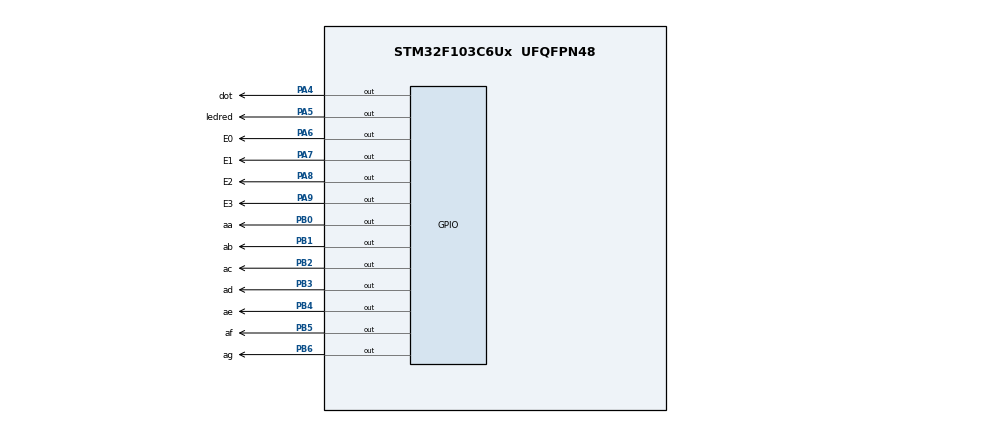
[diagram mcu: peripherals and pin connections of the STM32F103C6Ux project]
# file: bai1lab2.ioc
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Mcu.Family=STM32F1
Mcu.Name=STM32F103C6Ux
Mcu.Package=UFQFPN48
NVIC.PriorityGroup=NVIC_PRIORITYGROUP_4
NVIC.TIM2_IRQn=true\:0\:0\:false\:false\:true\:true\:true
PA4.GPIO_Label=dot
PA4.Signal=GPIO_Output
PA5.GPIO_Label=ledred
PA5.Signal=GPIO_Output
PA6.GPIO_Label=E0
PA6.Signal=GPIO_Output
PA7.GPIO_Label=E1
PA7.Signal=GPIO_Output
PA8.GPIO_Label=E2
PA8.Signal=GPIO_Output
PA9.GPIO_Label=E3
PA9.Signal=GPIO_Output
PB0.GPIO_Label=aa
PB0.Signal=GPIO_Output
PB1.GPIO_Label=ab
PB1.Signal=GPIO_Output
PB2.GPIO_Label=ac
PB2.Signal=GPIO_Output
PB3.GPIO_Label=ad
PB3.Signal=GPIO_Output
PB4.GPIO_Label=ae
PB4.Signal=GPIO_Output
PB5.GPIO_Label=af
PB5.Signal=GPIO_Output
PB6.GPIO_Label=ag
PB6.Signal=GPIO_Output
ProjectManager.HeapSize=0x200
ProjectManager.StackSize=0x400
ProjectManager.TargetToolchain=STM32CubeIDE
RCC.AHBFreq_Value=8000000
RCC.APB1Freq_Value=8000000
RCC.APB1TimFreq_Value=8000000
RCC.APB2Freq_Value=8000000
RCC.APB2TimFreq_Value=8000000
RCC.HCLKFreq_Value=8000000
TIM2.Period=9 
TIM2.Prescaler=7999
VP_SYS_VS_ND.Mode=No_Debug
VP_TIM2_VS_ClockSourceINT.Mode=Internal
board=custom

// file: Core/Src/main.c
/* USER CODE BEGIN Header */
/**
  ******************************************************************************
  * @file           : main.c
  * @brief          : Main program body
  ******************************************************************************
  * @attention
  *
  * <h2><center>&copy; Copyright (c) 2022 STMicroelectronics.
  * All rights reserved.</center></h2>
  *
  * This software component is licensed by ST under BSD 3-Clause license,
  * the "License"; You may not use this file except in compliance with the
  * License. You may obtain a copy of the License at:
  *                        opensource.org/licenses/BSD-3-Clause
  *
  ******************************************************************************
  */
/* USER CODE END Header */
#include "main.h"
#include "software_timer.h"

TIM_HandleTypeDef htim2;

void SystemClock_Config(void);
static void MX_TIM2_Init(void);
static void MX_GPIO_Init(void);

/* USER CODE BEGIN 0 */
void display7SEG(int num) {
	if (num ==0) {
		HAL_GPIO_WritePin ( aa_GPIO_Port , aa_Pin ,	  GPIO_PIN_RESET );
		HAL_GPIO_WritePin ( ab_GPIO_Port , ab_Pin ,	  GPIO_PIN_RESET );
		HAL_GPIO_WritePin ( ac_GPIO_Port , ac_Pin ,	  GPIO_PIN_RESET );
		HAL_GPIO_WritePin ( ad_GPIO_Port , ad_Pin ,	  GPIO_PIN_RESET );
		HAL_GPIO_WritePin ( ae_GPIO_Port , ae_Pin ,	  GPIO_PIN_RESET );
		HAL_GPIO_WritePin ( af_GPIO_Port , af_Pin ,	  GPIO_PIN_RESET );
		HAL_GPIO_WritePin ( ag_GPIO_Port , ag_Pin ,	  GPIO_PIN_SET );
	}
	if (num ==1) {
		HAL_GPIO_WritePin ( aa_GPIO_Port , aa_Pin ,	  GPIO_PIN_SET );
		HAL_GPIO_WritePin ( ab_GPIO_Port , ab_Pin ,	  GPIO_PIN_RESET );
		HAL_GPIO_WritePin ( ac_GPIO_Port , ac_Pin ,	  GPIO_PIN_RESET );
		HAL_GPIO_WritePin ( ad_GPIO_Port , ad_Pin ,	  GPIO_PIN_SET );
		HAL_GPIO_WritePin ( ae_GPIO_Port , ae_Pin ,	  GPIO_PIN_SET );
		HAL_GPIO_WritePin ( af_GPIO_Port , af_Pin ,	  GPIO_PIN_SET );
		HAL_GPIO_WritePin ( ag_GPIO_Port , ag_Pin ,	  GPIO_PIN_SET );
	}
	if (num ==2) {
		HAL_GPIO_WritePin ( aa_GPIO_Port , aa_Pin ,	  GPIO_PIN_RESET );
		HAL_GPIO_WritePin ( ab_GPIO_Port , ab_Pin ,	  GPIO_PIN_RESET );
		HAL_GPIO_WritePin ( ac_GPIO_Port , ac_Pin ,	  GPIO_PIN_SET );
		HAL_GPIO_WritePin ( ad_GPIO_Port , ad_Pin ,	  GPIO_PIN_RESET );
		HAL_GPIO_WritePin ( ae_GPIO_Port , ae_Pin ,	  GPIO_PIN_RESET );
		HAL_GPIO_WritePin ( af_GPIO_Port , af_Pin ,	  GPIO_PIN_SET );
		HAL_GPIO_WritePin ( ag_GPIO_Port , ag_Pin ,	  GPIO_PIN_RESET );
	}
	if (num ==3) {
		HAL_GPIO_WritePin ( aa_GPIO_Port , aa_Pin ,	  GPIO_PIN_RESET );
		HAL_GPIO_WritePin ( ab_GPIO_Port , ab_Pin ,	  GPIO_PIN_RESET );
		HAL_GPIO_WritePin ( ac_GPIO_Port , ac_Pin ,	  GPIO_PIN_RESET );
		HAL_GPIO_WritePin ( ad_GPIO_Port , ad_Pin ,	  GPIO_PIN_RESET );
		HAL_GPIO_WritePin ( ae_GPIO_Port , ae_Pin ,	  GPIO_PIN_SET );
		HAL_GPIO_WritePin ( af_GPIO_Port , af_Pin ,	  GPIO_PIN_SET );
		HAL_GPIO_WritePin ( ag_GPIO_Port , ag_Pin ,	  GPIO_PIN_RESET );
	}
	if (num ==4) {
		HAL_GPIO_WritePin ( aa_GPIO_Port , aa_Pin ,	  GPIO_PIN_SET );
		HAL_GPIO_WritePin ( ab_GPIO_Port , ab_Pin ,	  GPIO_PIN_RESET );
		HAL_GPIO_WritePin ( ac_GPIO_Port , ac_Pin ,	  GPIO_PIN_RESET );
		HAL_GPIO_WritePin ( ad_GPIO_Port , ad_Pin ,	  GPIO_PIN_SET );
		HAL_GPIO_WritePin ( ae_GPIO_Port , ae_Pin ,	  GPIO_PIN_SET );
		HAL_GPIO_WritePin ( af_GPIO_Port , af_Pin ,	  GPIO_PIN_RESET );
		HAL_GPIO_WritePin ( ag_GPIO_Port , ag_Pin ,	  GPIO_PIN_RESET );
	}
	if (num ==5) {
		HAL_GPIO_WritePin ( aa_GPIO_Port , aa_Pin ,	  GPIO_PIN_RESET );
		HAL_GPIO_WritePin ( ab_GPIO_Port , ab_Pin ,	  GPIO_PIN_SET );
		HAL_GPIO_WritePin ( ac_GPIO_Port , ac_Pin ,	  GPIO_PIN_RESET );
		HAL_GPIO_WritePin ( ad_GPIO_Port , ad_Pin ,	  GPIO_PIN_RESET );
		HAL_GPIO_WritePin ( ae_GPIO_Port , ae_Pin ,	  GPIO_PIN_SET );
		HAL_GPIO_WritePin ( af_GPIO_Port , af_Pin ,	  GPIO_PIN_RESET );
		HAL_GPIO_WritePin ( ag_GPIO_Port , ag_Pin ,	  GPIO_PIN_RESET );
	}
	if (num ==6) {
		HAL_GPIO_WritePin ( aa_GPIO_Port , aa_Pin ,	  GPIO_PIN_RESET );
		HAL_GPIO_WritePin ( ab_GPIO_Port , ab_Pin ,	  GPIO_PIN_SET );
		HAL_GPIO_WritePin ( ac_GPIO_Port , ac_Pin ,	  GPIO_PIN_RESET );
		HAL_GPIO_WritePin ( ad_GPIO_Port , ad_Pin ,	  GPIO_PIN_RESET );
		HAL_GPIO_WritePin ( ae_GPIO_Port , ae_Pin ,	  GPIO_PIN_RESET );
		HAL_GPIO_WritePin ( af_GPIO_Port , af_Pin ,	  GPIO_PIN_RESET );
		HAL_GPIO_WritePin ( ag_GPIO_Port , ag_Pin ,	  GPIO_PIN_RESET );
	}
	if (num ==7) {
		HAL_GPIO_WritePin ( aa_GPIO_Port , aa_Pin ,	  GPIO_PIN_RESET );
		HAL_GPIO_WritePin ( ab_GPIO_Port , ab_Pin ,	  GPIO_PIN_RESET );
		HAL_GPIO_WritePin ( ac_GPIO_Port , ac_Pin ,	  GPIO_PIN_RESET );
		HAL_GPIO_WritePin ( ad_GPIO_Port , ad_Pin ,	  GPIO_PIN_SET );
		HAL_GPIO_WritePin ( ae_GPIO_Port , ae_Pin ,	  GPIO_PIN_SET );
		HAL_GPIO_WritePin ( af_GPIO_Port , af_Pin ,	  GPIO_PIN_SET );
		HAL_GPIO_WritePin ( ag_GPIO_Port , ag_Pin ,	  GPIO_PIN_SET );
	}
	if (num ==8) {
		HAL_GPIO_WritePin ( aa_GPIO_Port , aa_Pin ,	  GPIO_PIN_RESET );
		HAL_GPIO_WritePin ( ab_GPIO_Port , ab_Pin ,	  GPIO_PIN_RESET );
		HAL_GPIO_WritePin ( ac_GPIO_Port , ac_Pin ,	  GPIO_PIN_RESET );
		HAL_GPIO_WritePin ( ad_GPIO_Port , ad_Pin ,	  GPIO_PIN_RESET );
		HAL_GPIO_WritePin ( ae_GPIO_Port , ae_Pin ,	  GPIO_PIN_RESET );
		HAL_GPIO_WritePin ( af_GPIO_Port , af_Pin ,	  GPIO_PIN_RESET );
		HAL_GPIO_WritePin ( ag_GPIO_Port , ag_Pin ,	  GPIO_PIN_RESET );
	}
	if (num ==9) {
		HAL_GPIO_WritePin ( aa_GPIO_Port , aa_Pin ,	  GPIO_PIN_RESET );
		HAL_GPIO_WritePin ( ab_GPIO_Port , ab_Pin ,	  GPIO_PIN_RESET );
		HAL_GPIO_WritePin ( ac_GPIO_Port , ac_Pin ,	  GPIO_PIN_RESET );
		HAL_GPIO_WritePin ( ad_GPIO_Port , ad_Pin ,	  GPIO_PIN_RESET );
		HAL_GPIO_WritePin ( ae_GPIO_Port , ae_Pin ,	  GPIO_PIN_SET );
		HAL_GPIO_WritePin ( af_GPIO_Port , af_Pin ,	  GPIO_PIN_RESET );
		HAL_GPIO_WritePin ( ag_GPIO_Port , ag_Pin ,	  GPIO_PIN_RESET );
	}
}

const int MAX_LED = 4;
int index_led = 0;
int led_buffer [4] = {1, 2, 3, 4};
int hour = 15, minute = 8, second = 50;
void update7SEG ( int index ){
switch ( index ){
case 0:
// Display the first 7 SEG with led_buffer [0]
	HAL_GPIO_WritePin ( E0_GPIO_Port , E0_Pin ,	  RESET );
	HAL_GPIO_WritePin ( E1_GPIO_Port , E1_Pin ,	  SET );
	HAL_GPIO_WritePin ( E2_GPIO_Port , E2_Pin ,	  SET );
	HAL_GPIO_WritePin ( E3_GPIO_Port , E3_Pin ,	  SET );
	display7SEG(led_buffer[index]);
break ;
case 1:
// Display the second 7 SEG with led_buffer [1]
	HAL_GPIO_WritePin ( E0_GPIO_Port , E0_Pin ,	  SET );
	HAL_GPIO_WritePin ( E1_GPIO_Port , E1_Pin ,	  RESET );
	HAL_GPIO_WritePin ( E2_GPIO_Port , E2_Pin ,	  SET );
	HAL_GPIO_WritePin ( E3_GPIO_Port , E3_Pin ,	  SET );
	display7SEG(led_buffer[index]);
break ;
case 2:
// Display the third 7 SEG with led_buffer [2]
	HAL_GPIO_WritePin ( E0_GPIO_Port , E0_Pin ,	  SET );
	HAL_GPIO_WritePin ( E1_GPIO_Port , E1_Pin ,	  SET );
	HAL_GPIO_WritePin ( E2_GPIO_Port , E2_Pin ,	  RESET );
	HAL_GPIO_WritePin ( E3_GPIO_Port , E3_Pin ,	  SET );
	display7SEG(led_buffer[index]);
break ;
case 3:
// Display the forth 7 SEG with led_buffer [3]
	HAL_GPIO_WritePin ( E0_GPIO_Port , E0_Pin ,	  SET );
	HAL_GPIO_WritePin ( E1_GPIO_Port , E1_Pin ,	  SET );
	HAL_GPIO_WritePin ( E2_GPIO_Port , E2_Pin ,	  SET );
	HAL_GPIO_WritePin ( E3_GPIO_Port , E3_Pin ,	  RESET );
	display7SEG(led_buffer[index]);
break ;
default :
break ;
}
}

void updateClockBuffer() {
	led_buffer[0] = hour/10;
	led_buffer[1] = hour%10;
	led_buffer[2] = minute/10;
	led_buffer[3] = minute%10;
}
//
int timer1_counter = 0;
int timer1_flag = 0;
int TIMER_CYCLE = 10;
void setTimer1 ( int duration ) {
timer1_counter = duration / TIMER_CYCLE ;
timer1_flag = 0;
}
void timer_run () {
if ( timer1_counter > 0) {
timer1_counter --;
if ( timer1_counter == 0) timer1_flag = 1;
}
}
/* USER CODE END 0 */

int main(void)
{

  /* MCU Configuration--------------------------------------------------------*/

  /* Reset of all peripherals, Initializes the Flash interface and the Systick. */
  HAL_Init();

  /* Configure the system clock */
  SystemClock_Config();

  /* Initialize all configured peripherals */
  MX_TIM2_Init();
  MX_GPIO_Init();
  /* USER CODE BEGIN 2 */
  HAL_TIM_Base_Start_IT (& htim2 );
  /* USER CODE END 2 */

  /* Infinite loop */
  /* USER CODE BEGIN WHILE */
  setTimer1 (1000) ;
  while (1)
  {
	  if ( timer1_flag == 1) {
		  second ++;
		 	  if ( second >= 60) {
		 	  second = 0;
		 	  minute ++;
		 	  }
		 	  if( minute >= 60) {
		 	  minute = 0;
		 	  hour ++;
		 	  }
		 	  if( hour >=24){
		 	  hour = 0;
		 	  }
		 	updateClockBuffer ();
		  	HAL_GPIO_TogglePin ( ledred_GPIO_Port , ledred_Pin );
		  	HAL_GPIO_TogglePin ( dot_GPIO_Port , dot_Pin );
	  setTimer1 (1000) ;

	  }
	  //
    /* USER CODE END WHILE */

  }
}

void SystemClock_Config(void)
{
  RCC_OscInitTypeDef RCC_OscInitStruct = {0};
  RCC_ClkInitTypeDef RCC_ClkInitStruct = {0};

  /** Initializes the RCC Oscillators according to the specified parameters
  * in the RCC_OscInitTypeDef structure.
  */
  RCC_OscInitStruct.OscillatorType = RCC_OSCILLATORTYPE_HSI;
  RCC_OscInitStruct.HSIState = RCC_HSI_ON;
  RCC_OscInitStruct.HSICalibrationValue = RCC_HSICALIBRATION_DEFAULT;
  RCC_OscInitStruct.PLL.PLLState = RCC_PLL_NONE;
  if (HAL_RCC_OscConfig(&RCC_OscInitStruct) != HAL_OK)
  {
    Error_Handler();
  }
  /** Initializes the CPU, AHB and APB buses clocks
  */
  RCC_ClkInitStruct.ClockType = RCC_CLOCKTYPE_HCLK|RCC_CLOCKTYPE_SYSCLK
                              |RCC_CLOCKTYPE_PCLK1|RCC_CLOCKTYPE_PCLK2;
  RCC_ClkInitStruct.SYSCLKSource = RCC_SYSCLKSOURCE_HSI;
  RCC_ClkInitStruct.AHBCLKDivider = RCC_SYSCLK_DIV1;
  RCC_ClkInitStruct.APB1CLKDivider = RCC_HCLK_DIV1;
  RCC_ClkInitStruct.APB2CLKDivider = RCC_HCLK_DIV1;

  if (HAL_RCC_ClockConfig(&RCC_ClkInitStruct, FLASH_LATENCY_0) != HAL_OK)
  {
    Error_Handler();
  }
}

static void MX_TIM2_Init(void)
{

  TIM_ClockConfigTypeDef sClockSourceConfig = {0};
  TIM_MasterConfigTypeDef sMasterConfig = {0};

  htim2.Instance = TIM2;
  htim2.Init.Prescaler = 7999;
  htim2.Init.CounterMode = TIM_COUNTERMODE_UP;
  htim2.Init.Period = 9 ;
  htim2.Init.ClockDivision = TIM_CLOCKDIVISION_DIV1;
  htim2.Init.AutoReloadPreload = TIM_AUTORELOAD_PRELOAD_DISABLE;
  if (HAL_TIM_Base_Init(&htim2) != HAL_OK)
  {
    Error_Handler();
  }
  sClockSourceConfig.ClockSource = TIM_CLOCKSOURCE_INTERNAL;
  if (HAL_TIM_ConfigClockSource(&htim2, &sClockSourceConfig) != HAL_OK)
  {
    Error_Handler();
  }
  sMasterConfig.MasterOutputTrigger = TIM_TRGO_RESET;
  sMasterConfig.MasterSlaveMode = TIM_MASTERSLAVEMODE_DISABLE;
  if (HAL_TIMEx_MasterConfigSynchronization(&htim2, &sMasterConfig) != HAL_OK)
  {
    Error_Handler();
  }

}

static void MX_GPIO_Init(void)
{
  GPIO_InitTypeDef GPIO_InitStruct = {0};

  /* GPIO Ports Clock Enable */
  __HAL_RCC_GPIOA_CLK_ENABLE();
  __HAL_RCC_GPIOB_CLK_ENABLE();

  /*Configure GPIO pin Output Level */
  HAL_GPIO_WritePin(GPIOA, dot_Pin|ledred_Pin|E0_Pin|E1_Pin
                          |E2_Pin|E3_Pin, GPIO_PIN_RESET);

  /*Configure GPIO pin Output Level */
  HAL_GPIO_WritePin(GPIOB, aa_Pin|ab_Pin|ac_Pin|ad_Pin
                          |ae_Pin|af_Pin|ag_Pin, GPIO_PIN_RESET);

  /*Configure GPIO pins : dot_Pin ledred_Pin E0_Pin E1_Pin
                           E2_Pin E3_Pin */
  GPIO_InitStruct.Pin = dot_Pin|ledred_Pin|E0_Pin|E1_Pin
                          |E2_Pin|E3_Pin;
  GPIO_InitStruct.Mode = GPIO_MODE_OUTPUT_PP;
  GPIO_InitStruct.Pull = GPIO_NOPULL;
  GPIO_InitStruct.Speed = GPIO_SPEED_FREQ_LOW;
  HAL_GPIO_Init(GPIOA, &GPIO_InitStruct);

  /*Configure GPIO pins : aa_Pin ab_Pin ac_Pin ad_Pin
                           ae_Pin af_Pin ag_Pin */
  GPIO_InitStruct.Pin = aa_Pin|ab_Pin|ac_Pin|ad_Pin
                          |ae_Pin|af_Pin|ag_Pin;
  GPIO_InitStruct.Mode = GPIO_MODE_OUTPUT_PP;
  GPIO_InitStruct.Pull = GPIO_NOPULL;
  GPIO_InitStruct.Speed = GPIO_SPEED_FREQ_LOW;
  HAL_GPIO_Init(GPIOB, &GPIO_InitStruct);

}

/* USER CODE BEGIN 4 */
int count = 100;
void HAL_TIM_PeriodElapsedCallback ( TIM_HandleTypeDef * htim )
{
timer_run ();
count --;
if (count <= 0 ){
	update7SEG(index_led++);
	if (index_led > 3) index_led=0;
	count = 25;
}
/*if (count < 0) count = 100;
else if (count < 100 && count >=75 ) {
	HAL_GPIO_WritePin(E0_GPIO_Port, E0_Pin, RESET) ;
	HAL_GPIO_WritePin(E1_GPIO_Port, E1_Pin, SET) ;
	HAL_GPIO_WritePin(E2_GPIO_Port, E2_Pin, SET) ;
	HAL_GPIO_WritePin(E3_GPIO_Port, E3_Pin, SET) ;
	display7SEG(1);
}
else if (count <75 && count >=50) {
	HAL_GPIO_WritePin(E0_GPIO_Port, E0_Pin, SET) ;
	HAL_GPIO_WritePin(E1_GPIO_Port, E1_Pin, RESET) ;
	HAL_GPIO_WritePin(E2_GPIO_Port, E2_Pin, SET) ;
	HAL_GPIO_WritePin(E3_GPIO_Port, E3_Pin, SET) ;
	display7SEG(2);
}
else if (count <50 && count >=25) {
	HAL_GPIO_WritePin(E0_GPIO_Port, E0_Pin, SET) ;
	HAL_GPIO_WritePin(E1_GPIO_Port, E1_Pin, SET) ;
	HAL_GPIO_WritePin(E2_GPIO_Port, E2_Pin, RESET) ;
	HAL_GPIO_WritePin(E3_GPIO_Port, E3_Pin, SET) ;
	display7SEG(3);
}
else if (count <25 && count >=0) {
	HAL_GPIO_WritePin(E0_GPIO_Port, E0_Pin, SET) ;
	HAL_GPIO_WritePin(E1_GPIO_Port, E1_Pin, SET) ;
	HAL_GPIO_WritePin(E2_GPIO_Port, E2_Pin, SET) ;
	HAL_GPIO_WritePin(E3_GPIO_Port, E3_Pin, RESET) ;
	display7SEG(0);
} */
}
/* USER CODE END 4 */

void Error_Handler(void)
{
  __disable_irq();
  while (1)
  {
  }
}

/************************ (C) COPYRIGHT STMicroelectronics *****END OF FILE****/
